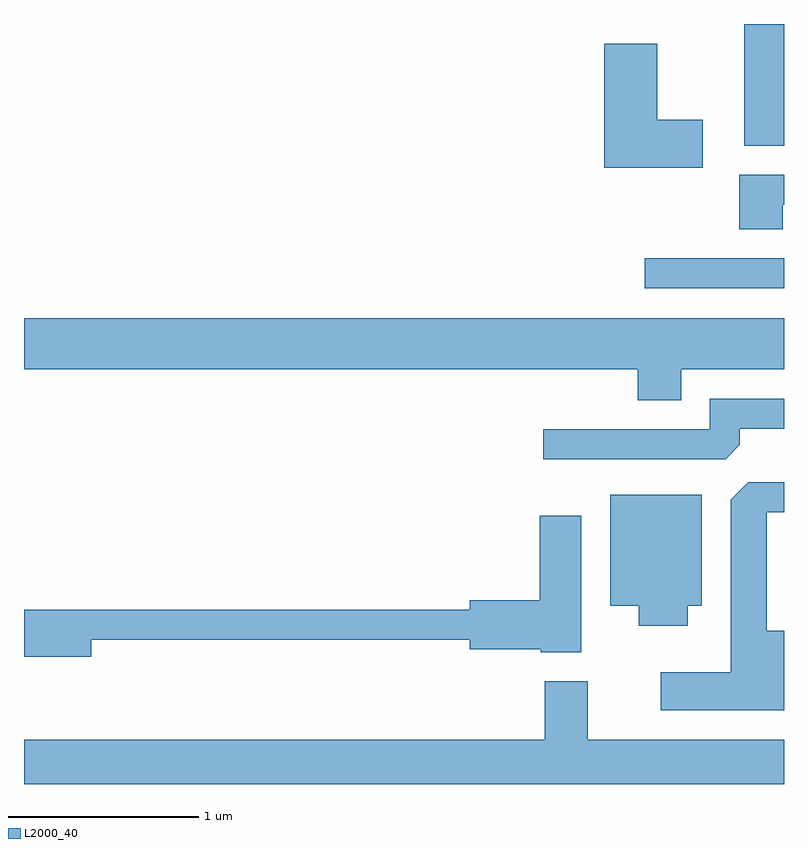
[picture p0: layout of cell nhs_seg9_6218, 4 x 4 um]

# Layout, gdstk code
import gdstk
lib = gdstk.Library(unit=1e-6, precision=1e-09)
def R(c, l, rs):  # rectangles x0, y0, x1, y1
    for r in rs: c.add(gdstk.rectangle(r[:2], r[2:], *l))
def P(c, l, *ps):  # polygons
    for p in ps: c.add(gdstk.Polygon(p, *l))
L2000_40 = (2000, 40)

nhs_seg9_6218 = lib.new_cell('nhs_seg9_6218')
R(nhs_seg9_6218, L2000_40, [(370.878,2081.041,371.611,2081.199), (371.401,2081.791,371.611,2082.432)])
P(nhs_seg9_6218, L2000_40, [(371.184,2081.929),(370.944,2081.929),(370.944,2082.329),(370.666,2082.329),(370.666,2081.676),(371.184,2081.676)],
  [(371.604,2081.481),(371.611,2081.481),(371.611,2081.639),(371.376,2081.639),(371.376,2081.351),(371.604,2081.351)],
  [(371.069,2080.616),(371.611,2080.616),(371.611,2080.884),(367.611,2080.884),(367.611,2080.616),(370.841,2080.616),(370.841,2080.451),(371.069,2080.451)],
  [(371.379,2080.217),(371.379,2080.301),(371.611,2080.301),(371.611,2080.459),(371.221,2080.459),(371.221,2080.299),(370.343,2080.299),(370.343,2080.141),(371.304,2080.141)],
  [(371.611,2079.239),(371.519,2079.239),(371.519,2079.861),(371.611,2079.861),(371.611,2080.019),(371.422,2080.019),(371.331,2079.929),(371.331,2079.019),(370.961,2079.019),(370.961,2078.821),(371.611,2078.821)],
  [(371.104,2079.371),(371.179,2079.371),(371.179,2079.954),(370.696,2079.954),(370.696,2079.371),(370.846,2079.371),(370.846,2079.266),(371.104,2079.266)],
  [(367.964,2079.191),(369.956,2079.191),(369.956,2079.141),(370.33,2079.141),(370.33,2079.126),(370.544,2079.126),(370.544,2079.844),(370.326,2079.844),(370.326,2079.399),(369.956,2079.399),(369.956,2079.349),(367.611,2079.349),(367.611,2079.101),(367.964,2079.101)],
  [(370.579,2078.974),(370.351,2078.974),(370.351,2078.664),(367.611,2078.664),(367.611,2078.432),(371.611,2078.432),(371.611,2078.664),(370.579,2078.664)])

lib.write_gds('nhs_seg9_6218.gds')
